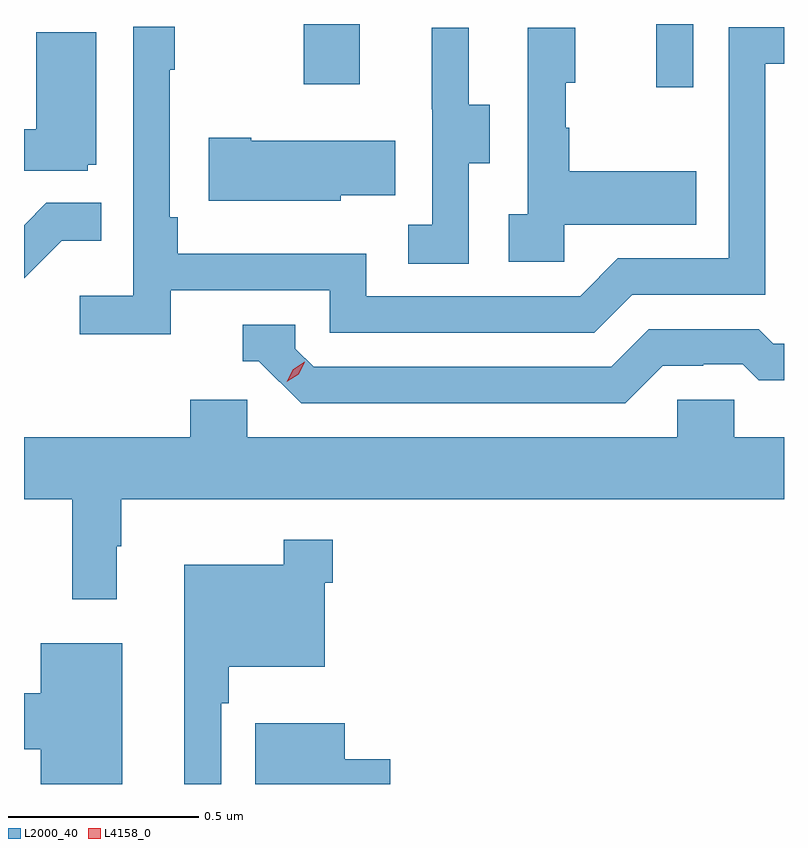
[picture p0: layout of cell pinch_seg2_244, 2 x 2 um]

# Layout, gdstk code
import gdstk
lib = gdstk.Library(unit=1e-6, precision=1e-09)
def R(c, l, rs):  # rectangles x0, y0, x1, y1
    for r in rs: c.add(gdstk.rectangle(r[:2], r[2:], *l))
def P(c, l, *ps):  # polygons
    for p in ps: c.add(gdstk.Polygon(p, *l))
L2000_40 = (2000, 40)
L4158_0 = (4158, 0)

pinch_seg2_244 = lib.new_cell('pinch_seg2_244')
R(pinch_seg2_244, L2000_40, [(922.442,659.376,922.539,659.543), (921.514,659.385,921.661,659.543)])
P(pinch_seg2_244, L2000_40, [(921.164,658.842),(921.582,658.842),(921.582,658.731),(922.279,658.731),(922.378,658.83),(922.728,658.83),(922.728,659.439),(922.778,659.439),(922.778,659.535),(922.632,659.535),(922.632,658.926),(922.341,658.926),(922.242,658.827),(921.678,658.827),(921.678,658.939),(921.182,658.939),(921.182,659.035),(921.162,659.035),(921.162,659.423),(921.175,659.423),(921.175,659.536),(921.066,659.536),(921.066,658.828),(920.925,658.828),(920.925,658.726),(921.164,658.726)],
  [(922.2,659.015),(922.547,659.015),(922.547,659.155),(922.213,659.155),(922.213,659.27),(922.203,659.27),(922.203,659.388),(922.228,659.388),(922.228,659.533),(922.104,659.533),(922.104,659.042),(922.053,659.042),(922.053,658.917),(922.2,658.917)],
  [(921.948,659.176),(922.003,659.176),(922.003,659.331),(921.949,659.331),(921.949,659.533),(921.851,659.533),(921.851,659.319),(921.852,659.319),(921.852,659.015),(921.789,659.015),(921.789,658.912),(921.948,658.912)],
  [(920.946,659.172),(920.968,659.172),(920.968,659.521),(920.81,659.521),(920.81,659.266),(920.778,659.266),(920.778,659.157),(920.946,659.157)],
  [(921.612,659.093),(921.755,659.093),(921.755,659.236),(921.376,659.236),(921.376,659.244),(921.264,659.244),(921.264,659.078),(921.612,659.078)],
  [(920.877,658.973),(920.981,658.973),(920.981,659.072),(920.837,659.072),(920.778,659.013),(920.778,658.874)],
  [(922.459,658.644),(922.566,658.644),(922.566,658.647),(922.669,658.647),(922.711,658.605),(922.778,658.605),(922.778,658.701),(922.75,658.701),(922.711,658.74),(922.422,658.74),(922.323,658.641),(921.54,658.641),(921.492,658.689),(921.492,658.752),(921.353,658.752),(921.353,658.656),(921.396,658.656),(921.507,658.545),(922.36,658.545)],
  [(921.022,658.169),(921.034,658.169),(921.034,658.292),(922.778,658.292),(922.778,658.456),(922.647,658.456),(922.647,658.554),(922.497,658.554),(922.497,658.456),(921.366,658.456),(921.366,658.554),(921.215,658.554),(921.215,658.456),(920.778,658.456),(920.778,658.292),(920.905,658.292),(920.905,658.029),(921.022,658.029)],
  [(921.297,657.755),(921.317,657.755),(921.317,657.851),(921.57,657.851),(921.57,658.073),(921.59,658.073),(921.59,658.186),(921.462,658.186),(921.462,658.12),(921.2,658.12),(921.2,657.543),(921.297,657.543)],
  [(921.037,657.913),(920.822,657.913),(920.822,657.782),(920.778,657.782),(920.778,657.635),(920.822,657.635),(920.822,657.543),(921.037,657.543)],
  [(921.742,657.608),(921.622,657.608),(921.622,657.703),(921.386,657.703),(921.386,657.543),(921.742,657.543)])
P(pinch_seg2_244, L4158_0, [(921.47,658.602),(921.47,658.602),(921.486,658.635),(921.517,658.654),(921.517,658.654),(921.517,658.654),(921.501,658.621),(921.47,658.602)])

lib.write_gds('pinch_seg2_244.gds')
